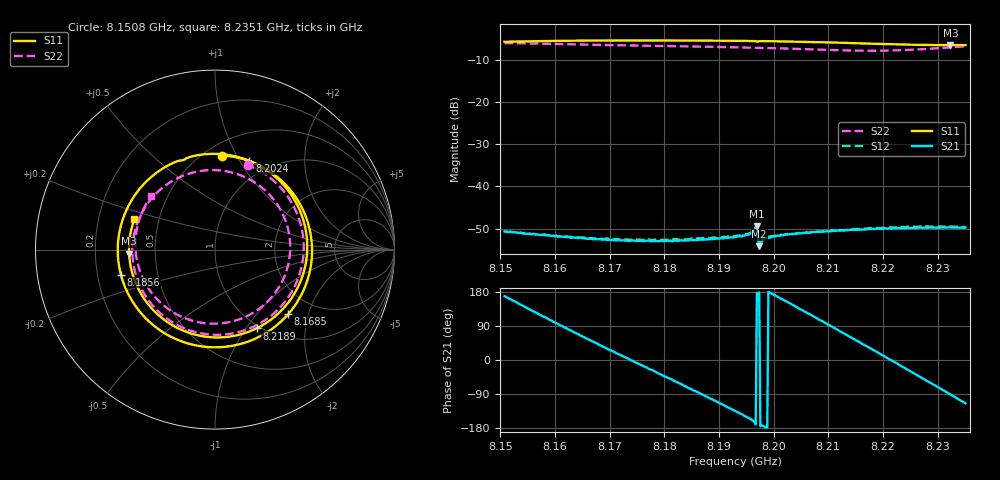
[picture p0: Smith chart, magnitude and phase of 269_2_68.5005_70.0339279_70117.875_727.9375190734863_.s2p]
#  HZ  S  RI  R  50.00
! Rohde & Schwarz Vector Network Analyzer
! Rohde-Schwarz,ZNB20-2Port,1311601062101988,3.16
! Created: UTC 3/20/2024, 5:00:41 PM
! freq[Hz]  re:S11  im:S11  re:S21  im:S21  re:S12  im:S12  re:S22  im:S22
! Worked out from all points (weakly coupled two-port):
!   401 points, 8.1508 GHz to 8.2351 GHz, reference 50 ohm
!   highest |S21| = -49.46 dB at 8.197 GHz (marker M1); lowest = -54.2 dB at 8.1974 GHz (marker M2)
!   lowest |S11| = -6.4 dB at 8.2324 GHz (marker M3), VSWR 2.84, Z = 17.6 - j1.02 ohm
!   |S11| at or under -10 dB: nowhere
!   |S22| runs from -7.7 to -5.9 dB; largest |S21 - S12| = 0.00026
!   S11 on the Smith chart (normalised r, x): 8.1508 GHz: 0.60, +0.88; 8.1685 GHz: 1.46, -1.50; 8.1856 GHz: 0.30, -0.12; 8.2024 GHz: 0.80, +1.10; 8.2189 GHz: 0.96, -1.12; 8.2351 GHz: 0.36, +0.16
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8.150808e9  0.04 0.5241  -0.00286 0.000586  -0.00284 0.000621  0.1859 0.4712
8.154391e9  0.2704 0.4573  -0.00214 0.00174  -0.00216 0.00179  0.3692 0.3413
8.158184e9  0.4548 0.2847  -0.00105 0.00243  -0.00104 0.00249  0.4787 0.1358
8.164927e9  0.5213 -0.1498  0.00109 0.00218  0.00108 0.00223  0.4159 -0.2539
8.168509e9  0.4073 -0.3606  0.00185 0.00142  0.00187 0.0015  0.2673 -0.4009
8.173988e9  0.0878 -0.5374  0.00228 -3.32e-05  0.00233 -1.95e-05  -0.0349 -0.4728
8.179046e9  -0.2494 -0.4836  0.00181 -0.00133  0.00189 -0.00137  -0.2954 -0.3631
8.185578e9  -0.5242 -0.1399  0.000336 -0.00228  0.000269 -0.00236  -0.4587 -0.0471
8.18916e9  -0.5304 0.1081  -0.000691 -0.00228  -0.000772 -0.00235  -0.4326 0.1488
8.192954e9  -0.4146 0.345  -0.00175 -0.00182  -0.00186 -0.00179  -0.317 0.3233
8.196536e9  -0.2106 0.4923  -0.00295 -0.000823  -0.00304 -0.000727  -0.1448 0.4233
8.196957e9  -0.1805 0.4977  -0.00336 0.000191  -0.00338 0.000355  -0.1219 0.4297
8.197379e9  -0.1612 0.5081  -0.00195 5.96e-05  -0.00196 0.000148  -0.099 0.435
8.202436e9  0.1915 0.4941  -0.00243 0.00119  -0.00238 0.00129  0.1817 0.3971
8.207072e9  0.438 0.2849  -0.0013 0.00256  -0.00124 0.00255  0.3715 0.2101
8.212762e9  0.4993 -0.1065  0.000987 0.00281  0.00108 0.00283  0.3963 -0.1246
8.218873e9  0.2312 -0.439  0.00291 0.00115  0.003 0.00108  0.1296 -0.3901
8.221191e9  0.0709 -0.4861  0.00317 9.58e-05  0.00324 -2.1e-05  -0.0214 -0.4125
8.224352e9  -0.1547 -0.4601  0.00293 -0.00131  0.00296 -0.00152  -0.2249 -0.3541
8.227513e9  -0.3443 -0.3364  0.00207 -0.0025  0.00202 -0.00267  -0.379 -0.2027
8.232359e9  -0.4785 -0.0224  -2.46e-05 -0.00327  -0.000258 -0.00332  -0.4333 0.1245
8.235099e9  -0.4493 0.1693  -0.00133 -0.00297  -0.00152 -0.00295  -0.3541 0.2995
